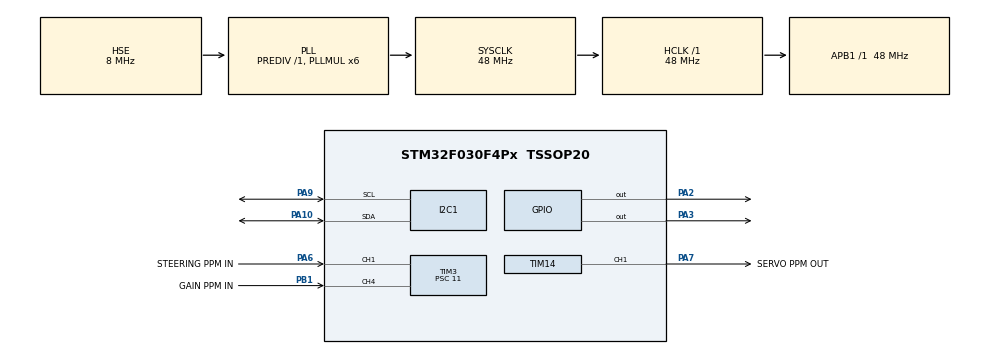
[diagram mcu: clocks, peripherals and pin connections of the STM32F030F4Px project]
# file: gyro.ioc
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Dma.Request0=TIM3_CH1/TRIG
Dma.TIM3_CH1/TRIG.0.Direction=DMA_PERIPH_TO_MEMORY
Dma.TIM3_CH1/TRIG.0.Instance=DMA1_Channel4
Dma.TIM3_CH1/TRIG.0.MemDataAlignment=DMA_MDATAALIGN_WORD
Dma.TIM3_CH1/TRIG.0.MemInc=DMA_MINC_DISABLE
Dma.TIM3_CH1/TRIG.0.Mode=DMA_CIRCULAR
Dma.TIM3_CH1/TRIG.0.PeriphDataAlignment=DMA_PDATAALIGN_WORD
Dma.TIM3_CH1/TRIG.0.PeriphInc=DMA_PINC_DISABLE
Dma.TIM3_CH1/TRIG.0.Priority=DMA_PRIORITY_LOW
I2C1.Timing=0x20303E5D
Mcu.Family=STM32F0
Mcu.Name=STM32F030F4Px
Mcu.Package=TSSOP20
NVIC.DMA1_Channel4_5_IRQn=true\:0\:0\:false\:false\:true\:false\:true\:true
NVIC.TIM14_IRQn=true\:0\:0\:false\:false\:true\:true\:true\:true
NVIC.TIM3_IRQn=true\:0\:0\:false\:false\:true\:true\:true\:true
PA10.GPIO_Pu=GPIO_PULLUP
PA10.Mode=I2C
PA10.Signal=I2C1_SDA
PA13.Mode=Serial_Wire
PA13.Signal=SYS_SWDIO
PA14.Mode=Serial_Wire
PA14.Signal=SYS_SWCLK
PA2.Signal=GPIO_Output
PA3.Signal=GPIO_Output
PA6.GPIO_Label=STEERING PPM IN
PA6.Signal=S_TIM3_CH1
PA7.GPIO_Label=SERVO PPM OUT
PA7.Signal=S_TIM14_CH1
PA9.GPIO_Pu=GPIO_PULLUP
PA9.Mode=I2C
PA9.Signal=I2C1_SCL
PB1.GPIO_Label=GAIN PPM IN
PB1.Signal=S_TIM3_CH4
PF0-OSC_IN.Mode=HSE-External-Oscillator
PF0-OSC_IN.Signal=RCC_OSC_IN
PF1-OSC_OUT.Mode=HSE-External-Oscillator
PF1-OSC_OUT.Signal=RCC_OSC_OUT
ProjectManager.HeapSize=0x300
ProjectManager.StackSize=0x300
ProjectManager.TargetToolchain=MDK-ARM V5.27
RCC.AHBFreq_Value=48000000
RCC.APB1Freq_Value=48000000
RCC.APB1TimFreq_Value=48000000
RCC.HCLKFreq_Value=48000000
RCC.I2c1ClockSelection=RCC_I2C1CLKSOURCE_SYSCLK
RCC.PLLMUL=RCC_PLL_MUL6
RCC.PLLSourceVirtual=RCC_PLLSOURCE_HSE
RCC.SYSCLKFreq_VALUE=48000000
RCC.SYSCLKSource=RCC_SYSCLKSOURCE_PLLCLK
SH.S_TIM14_CH1.0=TIM14_CH1,PWM Generation1 CH1
SH.S_TIM3_CH1.0=TIM3_CH1,Input_Capture1_from_TI1
SH.S_TIM3_CH1.1=TIM3_CH1,TriggerSource_TI1FP1
SH.S_TIM3_CH4.0=TIM3_CH4,Input_Capture4_from_TI4
TIM14.Channel=TIM_CHANNEL_1
TIM14.Period=19999
TIM14.Prescaler=5
TIM14.Pulse=12000
TIM3.AutoReloadPreload=TIM_AUTORELOAD_PRELOAD_ENABLE
TIM3.Channel-Input_Capture1_from_TI1=TIM_CHANNEL_1
TIM3.Channel-Input_Capture3_from_TI4_63=TIM_CHANNEL_3
TIM3.Channel-Input_Capture4_from_TI4=TIM_CHANNEL_4
TIM3.ICFilter_CH1=10
TIM3.ICFilter_CH4=10
TIM3.ICPolarity_CH1=TIM_INPUTCHANNELPOLARITY_FALLING
TIM3.ICPolarity_CH3=TIM_INPUTCHANNELPOLARITY_FALLING
TIM3.Period=59999
TIM3.Prescaler=11
TIM3.TIM_MasterOutputTrigger=TIM_TRGO_RESET
TIM3.TIM_MasterSlaveMode=TIM_MASTERSLAVEMODE_DISABLE
VP_TIM14_VS_ClockSourceINT.Mode=Enable_Timer
VP_TIM3_VS_ControllerModeReset.Mode=Reset Mode
VP_TIM3_VS_indirect_ch4.Mode=Input_Capture3_from_TI4_63
board=custom

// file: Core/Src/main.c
/* USER CODE BEGIN Header */
/**
  ******************************************************************************
  * @file           : main.c
  * @brief          : Main program body
  ******************************************************************************
  * @attention
  *
  * Copyright (c) 2022 STMicroelectronics.
  * All rights reserved.
  *
  * This software is licensed under terms that can be found in the LICENSE file
  * in the root directory of this software component.
  * If no LICENSE file comes with this software, it is provided AS-IS.
  *
  ******************************************************************************
  */
/* USER CODE END Header */
#include "main.h"

/* USER CODE BEGIN Includes */
#include "pid.h"
#include "mpu6050.h"
#include "lpf.h"
/* USER CODE END Includes */

/* USER CODE BEGIN PTD */
PID_TypeDef TPID;
/* USER CODE END PTD */

/* USER CODE BEGIN PD */
#define SERVO_NEUTRAL 11900
#define SERVO_MAX_EPA 13620
#define SERVO_MIN_EPA 9460

#define KP_LIM 10.0
#define KD_KP_RATIO 1.45

#define STEER_PPM_MIN 4095
#define STEER_PPM_NEU 5942
#define STEER_PPM_MAX 7934

#define GAIN_PPM_MIN 4351
#define GAIN_PPM_NEU 5940
#define GAIN_PPM_MAX 7524
/* USER CODE END PD */

 I2C_HandleTypeDef hi2c1;

TIM_HandleTypeDef htim3;
TIM_HandleTypeDef htim14;
DMA_HandleTypeDef hdma_tim3_ch1_trig;

/* USER CODE BEGIN PV */
uint32_t steer_ppm = STEER_PPM_NEU;
uint32_t gain_ppm = GAIN_PPM_NEU;

float servo_ppm = SERVO_NEUTRAL;

float pid_K = 0;
float pid_D = 0;
float pid_in = 0;
float pid_out = 0;
float pid_setpoint = 0;
/* USER CODE END PV */

void SystemClock_Config(void);
static void MX_GPIO_Init(void);
static void MX_I2C1_Init(void);
static void MX_DMA_Init(void);
static void MX_TIM14_Init(void);
static void MX_TIM3_Init(void);

/* USER CODE BEGIN 0 */
float map(float x, float in_min, float in_neu, float in_max, float out_min, float out_neu, float out_max)
{
		if (x < in_neu)
		{
			return out_neu - (in_neu - x)*(out_neu - out_min)/(in_neu - in_min);
		}
	  else if (x > in_neu)
		{
			return out_neu + (x - in_neu)*(out_max - out_neu)/(in_max - in_neu);
		}
		else return out_neu;
}

float constrain(float x, float min, float max)
{
    if (x < min) return min;
    else if (x > max) return max;
    else return x;
}

void HAL_TIM_PWM_PulseFinishedCallback(TIM_HandleTypeDef *htim)
{
		float gyro_rate = MPU6050_Read_Gyro(&hi2c1);
		pid_in = fir(gyro_rate);
		PID_Compute(&TPID);
		float tx_out_map = map((float)steer_ppm, STEER_PPM_MIN, STEER_PPM_NEU, STEER_PPM_MAX, SERVO_MIN_EPA, SERVO_NEUTRAL, SERVO_MAX_EPA);
	  float pid_out_map = map(pid_out, -2000, 0, 2000, SERVO_MIN_EPA - SERVO_NEUTRAL, 0, SERVO_MAX_EPA - SERVO_NEUTRAL);
		servo_ppm = constrain(pid_out_map + tx_out_map, SERVO_MIN_EPA, SERVO_MAX_EPA);
		TIM14->CCR1 = (uint16_t)servo_ppm;
}

void HAL_TIM_IC_CaptureCallback(TIM_HandleTypeDef *htim)
{
    TIM3->CNT = 0;
}
/* USER CODE END 0 */

int main(void)
{

  /* MCU Configuration--------------------------------------------------------*/

  /* Reset of all peripherals, Initializes the Flash interface and the Systick. */
  HAL_Init();

  /* Configure the system clock */
  SystemClock_Config();

  /* Initialize all configured peripherals */
  MX_GPIO_Init();
  MX_I2C1_Init();
  MX_DMA_Init();
  MX_TIM14_Init();
  MX_TIM3_Init();
  /* USER CODE BEGIN 2 */
	HAL_GPIO_TogglePin(GPIOA, GPIO_PIN_3);
	MPU6050_Init(&hi2c1);
	HAL_Delay(3000);
	HAL_GPIO_TogglePin(GPIOA, GPIO_PIN_3);
	HAL_GPIO_TogglePin(GPIOA, GPIO_PIN_2);
	MPU6050_CalibrateGyro(&hi2c1, 150);
	HAL_GPIO_TogglePin(GPIOA, GPIO_PIN_2);

  PID(&TPID, &pid_in, &pid_out, &pid_setpoint, 0, 0, 0, _PID_P_ON_E, _PID_CD_REVERSE);
  PID_SetMode(&TPID, _PID_MODE_AUTOMATIC);
  PID_SetOutputLimits(&TPID, -2000, 2000);

	HAL_NVIC_SetPriority(TIM3_IRQn, 0, 0U);
	HAL_NVIC_SetPriority(TIM14_IRQn, 1, 0U);

  HAL_TIM_IC_Start_DMA(&htim3, TIM_CHANNEL_1, &steer_ppm, 1);
	HAL_TIM_IC_Start(&htim3, TIM_CHANNEL_3);
	HAL_TIM_IC_Start_IT(&htim3, TIM_CHANNEL_4);
	HAL_Delay(100);
  HAL_TIM_PWM_Start_IT(&htim14, TIM_CHANNEL_1);
  /* USER CODE END 2 */

  /* Infinite loop */
  /* USER CODE BEGIN WHILE */
  while (1)
  {
		gain_ppm = HAL_TIM_ReadCapturedValue(&htim3, TIM_CHANNEL_3);
		pid_K = map(gain_ppm, GAIN_PPM_MIN, GAIN_PPM_NEU, GAIN_PPM_MAX, KP_LIM, 0, KP_LIM);
		pid_D = pid_K * KD_KP_RATIO;
		PID_SetTunings(&TPID, pid_K, 0, pid_D);

		HAL_GPIO_TogglePin(GPIOA, GPIO_PIN_3);
		HAL_Delay(3);
		HAL_GPIO_TogglePin(GPIOA, GPIO_PIN_3);
		HAL_Delay(97);
    /* USER CODE END WHILE */

  }
}

void SystemClock_Config(void)
{
  RCC_OscInitTypeDef RCC_OscInitStruct = {0};
  RCC_ClkInitTypeDef RCC_ClkInitStruct = {0};
  RCC_PeriphCLKInitTypeDef PeriphClkInit = {0};

  /** Initializes the RCC Oscillators according to the specified parameters
  * in the RCC_OscInitTypeDef structure.
  */
  RCC_OscInitStruct.OscillatorType = RCC_OSCILLATORTYPE_HSE;
  RCC_OscInitStruct.HSEState = RCC_HSE_ON;
  RCC_OscInitStruct.PLL.PLLState = RCC_PLL_ON;
  RCC_OscInitStruct.PLL.PLLSource = RCC_PLLSOURCE_HSE;
  RCC_OscInitStruct.PLL.PLLMUL = RCC_PLL_MUL6;
  RCC_OscInitStruct.PLL.PREDIV = RCC_PREDIV_DIV1;
  if (HAL_RCC_OscConfig(&RCC_OscInitStruct) != HAL_OK)
  {
    Error_Handler();
  }

  /** Initializes the CPU, AHB and APB buses clocks
  */
  RCC_ClkInitStruct.ClockType = RCC_CLOCKTYPE_HCLK|RCC_CLOCKTYPE_SYSCLK
                              |RCC_CLOCKTYPE_PCLK1;
  RCC_ClkInitStruct.SYSCLKSource = RCC_SYSCLKSOURCE_PLLCLK;
  RCC_ClkInitStruct.AHBCLKDivider = RCC_SYSCLK_DIV1;
  RCC_ClkInitStruct.APB1CLKDivider = RCC_HCLK_DIV1;

  if (HAL_RCC_ClockConfig(&RCC_ClkInitStruct, FLASH_LATENCY_1) != HAL_OK)
  {
    Error_Handler();
  }
  PeriphClkInit.PeriphClockSelection = RCC_PERIPHCLK_I2C1;
  PeriphClkInit.I2c1ClockSelection = RCC_I2C1CLKSOURCE_SYSCLK;
  if (HAL_RCCEx_PeriphCLKConfig(&PeriphClkInit) != HAL_OK)
  {
    Error_Handler();
  }
}

static void MX_I2C1_Init(void)
{

  hi2c1.Instance = I2C1;
  hi2c1.Init.Timing = 0x20303E5D;
  hi2c1.Init.OwnAddress1 = 0;
  hi2c1.Init.AddressingMode = I2C_ADDRESSINGMODE_7BIT;
  hi2c1.Init.DualAddressMode = I2C_DUALADDRESS_DISABLE;
  hi2c1.Init.OwnAddress2 = 0;
  hi2c1.Init.OwnAddress2Masks = I2C_OA2_NOMASK;
  hi2c1.Init.GeneralCallMode = I2C_GENERALCALL_DISABLE;
  hi2c1.Init.NoStretchMode = I2C_NOSTRETCH_DISABLE;
  if (HAL_I2C_Init(&hi2c1) != HAL_OK)
  {
    Error_Handler();
  }

  /** Configure Analogue filter
  */
  if (HAL_I2CEx_ConfigAnalogFilter(&hi2c1, I2C_ANALOGFILTER_ENABLE) != HAL_OK)
  {
    Error_Handler();
  }

  /** Configure Digital filter
  */
  if (HAL_I2CEx_ConfigDigitalFilter(&hi2c1, 0) != HAL_OK)
  {
    Error_Handler();
  }

}

static void MX_TIM3_Init(void)
{

  TIM_SlaveConfigTypeDef sSlaveConfig = {0};
  TIM_MasterConfigTypeDef sMasterConfig = {0};
  TIM_IC_InitTypeDef sConfigIC = {0};

  htim3.Instance = TIM3;
  htim3.Init.Prescaler = 11;
  htim3.Init.CounterMode = TIM_COUNTERMODE_UP;
  htim3.Init.Period = 59999;
  htim3.Init.ClockDivision = TIM_CLOCKDIVISION_DIV1;
  htim3.Init.AutoReloadPreload = TIM_AUTORELOAD_PRELOAD_ENABLE;
  if (HAL_TIM_Base_Init(&htim3) != HAL_OK)
  {
    Error_Handler();
  }
  if (HAL_TIM_IC_Init(&htim3) != HAL_OK)
  {
    Error_Handler();
  }
  sSlaveConfig.SlaveMode = TIM_SLAVEMODE_RESET;
  sSlaveConfig.InputTrigger = TIM_TS_TI1F_ED;
  sSlaveConfig.TriggerPolarity = TIM_INPUTCHANNELPOLARITY_RISING;
  sSlaveConfig.TriggerFilter = 0;
  if (HAL_TIM_SlaveConfigSynchro(&htim3, &sSlaveConfig) != HAL_OK)
  {
    Error_Handler();
  }
  sMasterConfig.MasterOutputTrigger = TIM_TRGO_RESET;
  sMasterConfig.MasterSlaveMode = TIM_MASTERSLAVEMODE_DISABLE;
  if (HAL_TIMEx_MasterConfigSynchronization(&htim3, &sMasterConfig) != HAL_OK)
  {
    Error_Handler();
  }
  sConfigIC.ICPolarity = TIM_INPUTCHANNELPOLARITY_FALLING;
  sConfigIC.ICSelection = TIM_ICSELECTION_DIRECTTI;
  sConfigIC.ICPrescaler = TIM_ICPSC_DIV1;
  sConfigIC.ICFilter = 0;
  if (HAL_TIM_IC_ConfigChannel(&htim3, &sConfigIC, TIM_CHANNEL_1) != HAL_OK)
  {
    Error_Handler();
  }
  sConfigIC.ICSelection = TIM_ICSELECTION_INDIRECTTI;
  sConfigIC.ICFilter = 0;
  if (HAL_TIM_IC_ConfigChannel(&htim3, &sConfigIC, TIM_CHANNEL_3) != HAL_OK)
  {
    Error_Handler();
  }
  sConfigIC.ICPolarity = TIM_INPUTCHANNELPOLARITY_RISING;
  sConfigIC.ICSelection = TIM_ICSELECTION_DIRECTTI;
  sConfigIC.ICFilter = 0;
  if (HAL_TIM_IC_ConfigChannel(&htim3, &sConfigIC, TIM_CHANNEL_4) != HAL_OK)
  {
    Error_Handler();
  }

}

static void MX_TIM14_Init(void)
{

  TIM_OC_InitTypeDef sConfigOC = {0};

  htim14.Instance = TIM14;
  htim14.Init.Prescaler = 5;
  htim14.Init.CounterMode = TIM_COUNTERMODE_UP;
  htim14.Init.Period = 19999;
  htim14.Init.ClockDivision = TIM_CLOCKDIVISION_DIV1;
  htim14.Init.AutoReloadPreload = TIM_AUTORELOAD_PRELOAD_ENABLE;
  if (HAL_TIM_Base_Init(&htim14) != HAL_OK)
  {
    Error_Handler();
  }
  if (HAL_TIM_PWM_Init(&htim14) != HAL_OK)
  {
    Error_Handler();
  }
  sConfigOC.OCMode = TIM_OCMODE_PWM1;
  sConfigOC.Pulse = SERVO_NEUTRAL;
  sConfigOC.OCPolarity = TIM_OCPOLARITY_HIGH;
  sConfigOC.OCFastMode = TIM_OCFAST_DISABLE;
  if (HAL_TIM_PWM_ConfigChannel(&htim14, &sConfigOC, TIM_CHANNEL_1) != HAL_OK)
  {
    Error_Handler();
  }
  HAL_TIM_MspPostInit(&htim14);

}

static void MX_DMA_Init(void)
{

  /* DMA controller clock enable */
  __HAL_RCC_DMA1_CLK_ENABLE();

  /* DMA interrupt init */
  /* DMA1_Channel4_5_IRQn interrupt configuration */
  HAL_NVIC_SetPriority(DMA1_Channel4_5_IRQn, 0, 0);
  HAL_NVIC_EnableIRQ(DMA1_Channel4_5_IRQn);

}

static void MX_GPIO_Init(void)
{
  GPIO_InitTypeDef GPIO_InitStruct = {0};

  /* GPIO Ports Clock Enable */
  __HAL_RCC_GPIOF_CLK_ENABLE();
  __HAL_RCC_GPIOA_CLK_ENABLE();
  __HAL_RCC_GPIOB_CLK_ENABLE();

  /*Configure GPIO pin Output Level */
  HAL_GPIO_WritePin(GPIOA, GPIO_PIN_2|GPIO_PIN_3, GPIO_PIN_RESET);

  /*Configure GPIO pins : PA2 PA3 */
  GPIO_InitStruct.Pin = GPIO_PIN_2|GPIO_PIN_3;
  GPIO_InitStruct.Mode = GPIO_MODE_OUTPUT_PP;
  GPIO_InitStruct.Pull = GPIO_NOPULL;
  GPIO_InitStruct.Speed = GPIO_SPEED_FREQ_LOW;
  HAL_GPIO_Init(GPIOA, &GPIO_InitStruct);

}

void Error_Handler(void)
{
  __disable_irq();
  while (1)
  {
  }
}
